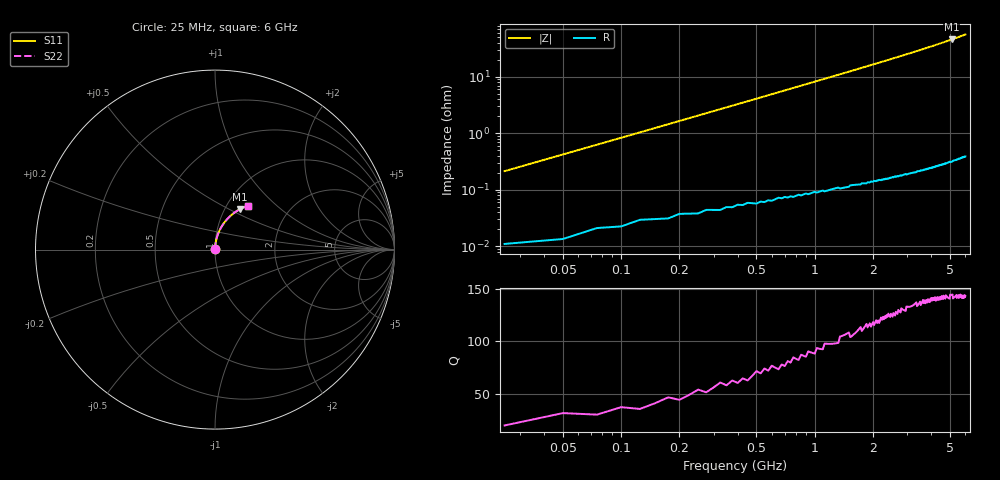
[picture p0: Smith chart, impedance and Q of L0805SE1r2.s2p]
!	AVX Thin Film Operation
!	Date:	Febr.	2009
!	Description: Accu-L® Series Thin Film SMD RF Inductors
!	Part Number: L08051R2BGWTR
!	25MHz-6GHz
!	Serial	Measurements
#	mhz	S	db	R	50
!	S11	S11	S21	S21	S12	S12	S22	S22
!	dB	Phase	dB	Phase	dB	Phase	dB	Phase
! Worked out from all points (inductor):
!   240 points, 25 MHz to 6 GHz, reference 50 ohm
!   read as 1/Y11, port 2 shorted: L = 1.34 nH near 50 MHz
!   highest Q = 145 at 5.1 GHz (marker M1), where L = 1.43 nH
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25  -56.59 85.7  -0.00 -0.2  -0.00 -0.2  -56.59 85.7
50  -50.79 86.5  -0.00 -0.3  -0.00 -0.3  -50.79 86.5
75  -47.37 86.8  -0.00 -0.5  -0.00 -0.5  -47.37 86.8
100  -44.93 87.0  -0.00 -0.6  -0.00 -0.6  -44.93 87.0
125  -43.04 87.0  -0.00 -0.8  -0.00 -0.8  -43.04 87.0
175  -40.17 87.0  -0.00 -1.1  -0.00 -1.1  -40.17 87.0
225  -38.03 86.9  -0.00 -1.4  -0.00 -1.4  -38.03 86.9
275  -36.32 86.7  -0.01 -1.7  -0.01 -1.7  -36.32 86.7
325  -34.89 86.5  -0.01 -2.0  -0.01 -2.0  -34.89 86.5
400  -33.11 86.1  -0.01 -2.5  -0.01 -2.5  -33.11 86.1
575  -30.00 85.2  -0.01 -3.6  -0.01 -3.6  -30.00 85.2
775  -27.44 84.1  -0.01 -4.8  -0.01 -4.8  -27.44 84.1
1025  -25.04 82.7  -0.02 -6.4  -0.02 -6.4  -25.04 82.7
1225  -23.51 81.5  -0.03 -7.6  -0.03 -7.6  -23.51 81.5
1475  -21.92 80.0  -0.04 -9.1  -0.04 -9.1  -21.92 80.0
2025  -19.21 76.7  -0.06 -12.5  -0.06 -12.5  -19.21 76.7
2500  -17.42 73.9  -0.09 -15.4  -0.09 -15.4  -17.42 73.9
3025  -15.82 70.7  -0.13 -18.6  -0.13 -18.6  -15.82 70.7
4025  -13.44 64.7  -0.22 -24.7  -0.22 -24.7  -13.44 64.7
5025  -11.64 58.7  -0.33 -30.6  -0.33 -30.6  -11.64 58.7
5100  -11.53 58.2  -0.34 -31.1  -0.34 -31.1  -11.53 58.2
6000  -10.24 52.9  -0.45 -36.4  -0.45 -36.4  -10.24 52.9
